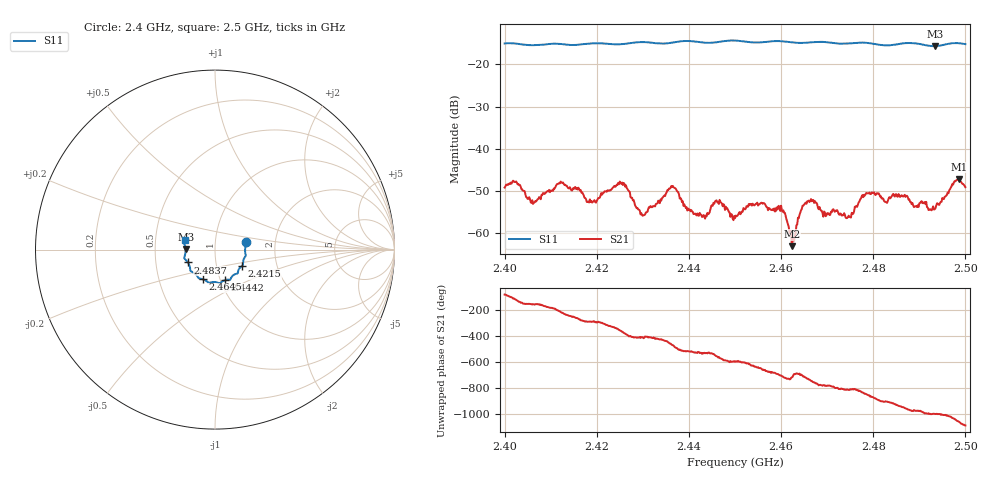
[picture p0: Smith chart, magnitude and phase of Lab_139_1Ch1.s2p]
# Hz S RI R 50
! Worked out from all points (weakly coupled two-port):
!   601 points, 2.4 GHz to 2.5 GHz, reference 50 ohm
!   highest |S21| = -47.10 dB at 2.4987 GHz (marker M1); lowest = -63.0 dB at 2.4623 GHz (marker M2)
!   lowest |S11| = -15.7 dB at 2.4933 GHz (marker M3), VSWR 1.39, Z = 36 + j0.11 ohm
!   |S11| at or under -10 dB: start of sweep to end of sweep
!   S12 and S22 are empty: the file has one direction only
!   S11 on the Smith chart (normalised r, x): 2.4 GHz: 1.41, +0.12; 2.4215 GHz: 1.33, -0.25; 2.4442 GHz: 1.05, -0.37; 2.4645 GHz: 0.83, -0.29; 2.4837 GHz: 0.73, -0.11; 2.5 GHz: 0.71, +0.07
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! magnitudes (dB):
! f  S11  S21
! 2.4 GHz  -15.1  -49.2
! 2.4062 GHz  -15.5  -53.0
! 2.4122 GHz  -15.2  -47.7
! 2.4167 GHz  -15.3  -50.4
! 2.4215 GHz  -15.1  -50.4
! 2.4255 GHz  -15.3  -48.0
! 2.43 GHz  -14.8  -55.8
! 2.4333 GHz  -15.1  -52.3
! 2.4367 GHz  -14.8  -49.1
! 2.4442 GHz  -15.0  -55.5
! 2.45 GHz  -14.4  -56.4
! 2.4595 GHz  -14.5  -53.5
! 2.4623 GHz  -14.8  -63.0
! 2.4645 GHz  -15.0  -54.2
! 2.4667 GHz  -14.8  -52.4
! 2.4747 GHz  -15.1  -55.8
! 2.4785 GHz  -14.9  -50.4
! 2.4833 GHz  -15.6  -51.8
! 2.4837 GHz  -15.5  -51.7
! 2.4933 GHz  -15.7  -54.3
! 2.4987 GHz  -15.1  -47.1
! 2.5 GHz  -15.3  -49.1
